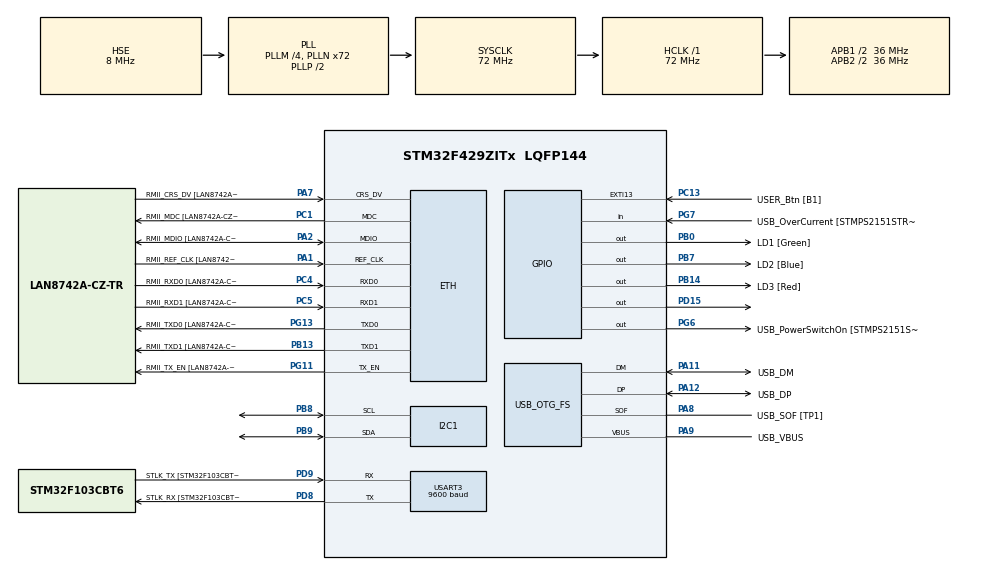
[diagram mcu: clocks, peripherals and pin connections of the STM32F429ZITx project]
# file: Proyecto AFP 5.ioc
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ETH.MediaInterface=HAL_ETH_RMII_MODE
ETH.PHY_Name=LAN8742A_PHY_ADDRESS
ETH.PHY_Value=0
ETH.PhyAddress=0
Mcu.Family=STM32F4
Mcu.Name=STM32F429ZITx
Mcu.Package=LQFP144
NVIC.PriorityGroup=NVIC_PRIORITYGROUP_4
NVIC.USART3_IRQn=true\:0\:0\:false\:false\:true\:true\:true\:true
PA1.GPIO_Label=RMII_REF_CLK [LAN8742A-CZ-TR_REFCLK0]
PA1.Mode=RMII
PA1.Signal=ETH_REF_CLK
PA10.GPIO_Label=USB_ID
PA10.Signal=USB_OTG_FS_ID
PA11.GPIO_Label=USB_DM
PA11.Mode=Device_Only
PA11.Signal=USB_OTG_FS_DM
PA12.GPIO_Label=USB_DP
PA12.Mode=Device_Only
PA12.Signal=USB_OTG_FS_DP
PA13.GPIO_Label=TMS
PA13.Mode=Serial_Wire
PA13.Signal=SYS_JTMS-SWDIO
PA14.GPIO_Label=TCK
PA14.Mode=Serial_Wire
PA14.Signal=SYS_JTCK-SWCLK
PA2.GPIO_Label=RMII_MDIO [LAN8742A-CZ-TR_MDIO]
PA2.Mode=RMII
PA2.Signal=ETH_MDIO
PA7.GPIO_Label=RMII_CRS_DV [LAN8742A-CZ-TR_CRS_DV]
PA7.Mode=RMII
PA7.Signal=ETH_CRS_DV
PA8.GPIO_Label=USB_SOF [TP1]
PA8.Mode=Activate_SOF_FS
PA8.Signal=USB_OTG_FS_SOF
PA9.GPIO_Label=USB_VBUS
PA9.Mode=Activate_VBUS
PA9.Signal=USB_OTG_FS_VBUS
PB0.GPIO_Label=LD1 [Green]
PB0.Signal=GPIO_Output
PB13.GPIO_Label=RMII_TXD1 [LAN8742A-CZ-TR_TXD1]
PB13.Mode=RMII
PB13.Signal=ETH_TXD1
PB14.GPIO_Label=LD3 [Red]
PB14.Signal=GPIO_Output
PB7.GPIO_Label=LD2 [Blue]
PB7.Signal=GPIO_Output
PB8.Mode=I2C
PB8.Signal=I2C1_SCL
PB9.Mode=I2C
PB9.Signal=I2C1_SDA
PC1.GPIO_Label=RMII_MDC [LAN8742A-CZ-TR_MDC]
PC1.Mode=RMII
PC1.Signal=ETH_MDC
PC13.GPIO_Label=USER_Btn [B1]
PC13.Signal=GPXTI13
PC14/OSC32_IN.Signal=RCC_OSC32_IN
PC15/OSC32_OUT.Signal=RCC_OSC32_OUT
PC4.GPIO_Label=RMII_RXD0 [LAN8742A-CZ-TR_RXD0]
PC4.Mode=RMII
PC4.Signal=ETH_RXD0
PC5.GPIO_Label=RMII_RXD1 [LAN8742A-CZ-TR_RXD1]
PC5.Mode=RMII
PC5.Signal=ETH_RXD1
PD15.Signal=GPIO_Output
PD8.GPIO_Label=STLK_RX [STM32F103CBT6_PA3]
PD8.Mode=Asynchronous
PD8.Signal=USART3_TX
PD9.GPIO_Label=STLK_TX [STM32F103CBT6_PA2]
PD9.Mode=Asynchronous
PD9.Signal=USART3_RX
PG11.GPIO_Label=RMII_TX_EN [LAN8742A-CZ-TR_TXEN]
PG11.Mode=RMII
PG11.Signal=ETH_TX_EN
PG13.GPIO_Label=RMII_TXD0 [LAN8742A-CZ-TR_TXD0]
PG13.Mode=RMII
PG13.Signal=ETH_TXD0
PG6.GPIO_Label=USB_PowerSwitchOn [STMPS2151STR_EN]
PG6.Signal=GPIO_Output
PG7.GPIO_Label=USB_OverCurrent [STMPS2151STR_FAULT]
PG7.Signal=GPIO_Input
PH0/OSC_IN.GPIO_Label=MCO [STM32F103CBT6_PA8]
PH0/OSC_IN.Mode=HSE-External-Oscillator
PH0/OSC_IN.Signal=RCC_OSC_IN
PH1/OSC_OUT.Mode=HSE-External-Oscillator
PH1/OSC_OUT.Signal=RCC_OSC_OUT
ProjectManager.HeapSize=0x200
ProjectManager.StackSize=0x400
ProjectManager.TargetToolchain=STM32CubeIDE
RCC.48MHZClocksFreq_Value=48000000
RCC.AHBFreq_Value=72000000
RCC.APB1CLKDivider=RCC_HCLK_DIV2
RCC.APB1Freq_Value=36000000
RCC.APB1TimFreq_Value=72000000
RCC.APB2CLKDivider=RCC_HCLK_DIV2
RCC.APB2Freq_Value=36000000
RCC.APB2TimFreq_Value=72000000
RCC.CortexFreq_Value=72000000
RCC.HCLKFreq_Value=72000000
RCC.HSE_VALUE=8000000
RCC.HSI_VALUE=16000000
RCC.PLLM=4
RCC.PLLMUL=RCC_PLL_MUL9
RCC.PLLN=72
RCC.PLLQ=3
RCC.PRESCALERUSB=RCC_USBCLKSOURCE_PLL_DIV1_5
RCC.SYSCLKFreq_VALUE=72000000
RCC.SYSCLKSource=RCC_SYSCLKSOURCE_PLLCLK
RCC.SYSCLKSourceVirtual=RCC_SYSCLKSOURCE_PLLCLK
RCC.USBFreq_Value=48000000
RCC.VCOOutputFreq_Value=144000000
USART3.BaudRate=9600
USART3.VirtualMode=VM_ASYNC
USB_OTG_FS.VirtualMode=Device_Only
board=NUCLEO-F429ZI

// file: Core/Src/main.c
/* USER CODE BEGIN Header */
/**
  ******************************************************************************
  * @file           : main.c
  * @brief          : Main program body
  ******************************************************************************
  * @attention
  *
  * Copyright (c) 2025 STMicroelectronics.
  * All rights reserved.
  *
  * This software is licensed under terms that can be found in the LICENSE file
  * in the root directory of this software component.
  * If no LICENSE file comes with this software, it is provided AS-IS.
  *
  ******************************************************************************
  */
/* USER CODE END Header */
#include "main.h"
#include "i2c.h"
#include "usart.h"
#include "gpio.h"
#include "API_liquidcrystal_i2c.h"
#include "stm32f4xx_hal.h"
#include "string.h"

/* USER CODE BEGIN PD */
#define RX_PIN GPIO_PIN_8 //RX del HC-05
#define TX_PIN GPIO_PIN_9 //TX del HC-05
#define SENSOR_IR_PIN GPIO_PIN_0   // Pin de entrada del sensor IR (PA0)
#define SENSOR_PIR_PIN GPIO_PIN_1  // Pin de entrada del sensor PIR (PB1)
#define BUZZER_PIN GPIO_PIN_0      // Pin de salida del buzzer (PB0)
#define LED_PIN GPIO_PIN_15			// pin de salida de led
/* USER CODE END PD */

uint8_t modoIR = 0;  // 1 para modo IR, 0 para modo PIR
uint32_t tiempoUltimoMovimiento = 0; // Variable para almacenar el tiempo del último movimiento detectado
uint32_t tiempoEspera = 2000;
uint32_t tiempoActivacionIR = 0;
uint32_t tiempoDeteccionIR = 0; //
uint8_t alarmaIRActivada = 0;
uint8_t conteoIRIniciado = 0; //
uint8_t zumbadorActivadoIR = 0; //
uint8_t rxData; // Variable para almacenar los datos recibidos
char comandoRecibido[20]; // Buffer para los comandos
uint8_t indiceComando = 0;
/* USER CODE BEGIN PV */
void HAL_UART_RxCpltCallback(UART_HandleTypeDef *huart) {
		    if (huart->Instance == USART3) { // Comprueba que es USART3
		        if (rxData == '\n' || rxData == '\r') { // Detecta fin de comando
		            comandoRecibido[indiceComando] = '\0'; // Cierra el string
		            indiceComando = 0;

		            // Compara el comando recibido
		            if (strcmp(comandoRecibido, "activar alarma") == 0) {
		                modoIR = 1; // Cambia a modo IR
		            } else if (strcmp(comandoRecibido, "desactivar alarma") == 0) {
		                modoIR = 0; // Cambia a modo PIR
		            }
		        } else {
		            comandoRecibido[indiceComando++] = rxData; // Guarda datos en el buffer
		        }

		        // Reactiva la recepción de UART
		        HAL_UART_Receive_IT(&huart3, &rxData, 1);
		    }
}
/* USER CODE END PV */

void SystemClock_Config(void);

/* USER CODE BEGIN 0 */
void HAL_UART_RxCpltCallback(UART_HandleTypeDef *huart);
/* USER CODE END 0 */

int main(void)
{

  /* MCU Configuration--------------------------------------------------------*/

  /* Reset of all peripherals, Initializes the Flash interface and the Systick. */
  HAL_Init();

  /* Configure the system clock */
  SystemClock_Config();

  /* USER CODE BEGIN SysInit */
  GPIO_InitTypeDef GPIO_InitStruct = {0};

  // Habilitar el reloj de los puertos GPIO
  __HAL_RCC_GPIOA_CLK_ENABLE();
  __HAL_RCC_GPIOB_CLK_ENABLE();
  __HAL_RCC_GPIOC_CLK_ENABLE();
  __HAL_RCC_GPIOD_CLK_ENABLE();
  // Configuración del pin del sensor IR (entrada)
  GPIO_InitStruct.Pin = SENSOR_IR_PIN;
  GPIO_InitStruct.Mode = GPIO_MODE_INPUT;
  GPIO_InitStruct.Pull = GPIO_NOPULL;  // Sin resistencias internas
  HAL_GPIO_Init(GPIOA, &GPIO_InitStruct);

  // Configuración del pin del sensor PIR (entrada)
  GPIO_InitStruct.Pin = SENSOR_PIR_PIN;
  GPIO_InitStruct.Mode = GPIO_MODE_INPUT;
  GPIO_InitStruct.Pull = GPIO_NOPULL;
  HAL_GPIO_Init(GPIOB, &GPIO_InitStruct);

  // Configuración del pin del buzzer (salida)
  GPIO_InitStruct.Pin = BUZZER_PIN;
  GPIO_InitStruct.Mode = GPIO_MODE_OUTPUT_PP;  // Push-pull para salida
  GPIO_InitStruct.Pull = GPIO_NOPULL;
  GPIO_InitStruct.Speed = GPIO_SPEED_FREQ_LOW;  // Baja velocidad
  HAL_GPIO_Init(GPIOB, &GPIO_InitStruct);

  //Configuracion del pin de recepcion UART del HC-05.
      GPIO_InitStruct.Pin = RX_PIN;
      GPIO_InitStruct.Mode = GPIO_MODE_AF_PP;
      GPIO_InitStruct.Pull = GPIO_NOPULL;
      GPIO_InitStruct.Speed = GPIO_SPEED_FREQ_VERY_HIGH;
      GPIO_InitStruct.Alternate = GPIO_AF7_USART3;
      HAL_GPIO_Init(GPIOC, &GPIO_InitStruct);

      //Configuracion del pin de Transmision UART del HC-05.
      GPIO_InitStruct.Pin = TX_PIN;
      GPIO_InitStruct.Mode = GPIO_MODE_AF_OD;
      GPIO_InitStruct.Pull = GPIO_PULLUP;
      GPIO_InitStruct.Speed = GPIO_SPEED_FREQ_VERY_HIGH;
      GPIO_InitStruct.Alternate = GPIO_AF7_USART3;
      HAL_GPIO_Init(GPIOC, &GPIO_InitStruct);

      //Inicializar UART3.
          huart3.Instance = USART3;
          huart3.Init.BaudRate = 9600;
          huart3.Init.WordLength = UART_WORDLENGTH_8B;
          huart3.Init.StopBits = UART_STOPBITS_1;
          huart3.Init.Parity = UART_PARITY_NONE;
          huart3.Init.Mode = UART_MODE_TX_RX;
          huart3.Init.HwFlowCtl = UART_HWCONTROL_NONE;
          huart3.Init.OverSampling = UART_OVERSAMPLING_16;
          if (HAL_UART_Init(&huart3) != HAL_OK) {
              Error_Handler();
          }

  /* USER CODE END SysInit */

  /* Initialize all configured peripherals */
  MX_GPIO_Init();
  MX_USART3_UART_Init();
  MX_I2C1_Init();
  /* USER CODE BEGIN 2 */
  HD44780_Init(2);
  HD44780_Clear();
  HD44780_SetCursor(0,0);
  HD44780_PrintStr("Proyecto");
  HD44780_SetCursor(3,1);
  HD44780_PrintStr("Digitales II");
  HAL_Delay(3000);
  HD44780_Display();

  HAL_UART_Receive_IT(&huart3, &rxData, 1);
  /* USER CODE END 2 */

  /* Infinite loop */
  while (1)
  {
	  if (modoIR) {

	    		  HAL_GPIO_WritePin(GPIOD, LED_PIN, GPIO_PIN_RESET);
	    	          if (alarmaIRActivada == 0) {
	    	        	  activando_alarma();
	    	              // Esperar 3 segundos antes de activar el sensor IR
	    	              if (tiempoActivacionIR == 0) {
	    	                  tiempoActivacionIR = HAL_GetTick();
	    	              }

	    	              if (HAL_GetTick() - tiempoActivacionIR >= 3000) {
	    	                  alarmaIRActivada = 1; // Activar alarma IR después de 3 segundos
	    	                  tiempoActivacionIR = 0; // Reiniciar el tiempo de activación
	    	              }
	    	          } else {
	    	              // Modo IR activado
	    	              GPIO_PinState sensorEstadoIR = HAL_GPIO_ReadPin(GPIOA, SENSOR_IR_PIN);

	    	              if (sensorEstadoIR == GPIO_PIN_RESET && conteoIRIniciado == 0) {
	    	                  // Detección de movimiento IR, iniciar conteo
	    	                  tiempoDeteccionIR = HAL_GetTick();
	    	                  conteoIRIniciado = 1;
	    	              }

	    	              if (conteoIRIniciado) {
	    	                  alarma_conteo();
	    	              }
	    	              if (zumbadorActivadoIR == 1){
	    	                  alarma_sonando();
	    	              }else{
	    	                  HAL_GPIO_WritePin(GPIOB, BUZZER_PIN, GPIO_PIN_RESET);
	    	              }
	    	          }
	    	      } else {
	    	          // Modo PIR: Si el sensor PIR detecta algo (señal HIGH), enciende el led
	    	          GPIO_PinState sensorEstadoPIR = HAL_GPIO_ReadPin(GPIOB, SENSOR_PIR_PIN);
	    	          HAL_GPIO_WritePin(GPIOB, BUZZER_PIN, GPIO_PIN_RESET);
	    	          HAL_GPIO_WritePin(GPIOD, LED_PIN, GPIO_PIN_RESET);
	    	          if (sensorEstadoPIR == GPIO_PIN_SET) {
	    	              led_on();
	    	          } else {
	    	        	  if (HAL_GetTick() - tiempoUltimoMovimiento >= tiempoEspera) {
	    	        		  led_off();
	    	        	    }
	    	          }
	    	          alarma_desactivada();
	    	          alarmaIRActivada = 0; // Reiniciar estado IR al cambiar a PIR
	    	          conteoIRIniciado = 0;
	    	          zumbadorActivadoIR = 0; //asegurar que el zumbador este apagado.
	    	          HAL_GPIO_WritePin(GPIOB, BUZZER_PIN, GPIO_PIN_RESET); //asegurar que el buzzer este apagado.
	    	          tiempoActivacionIR =0; //reiniciar tiempo de activacion para la siguiente vez que se active el modo IR.
	    	      }
	      }
}

void SystemClock_Config(void)
{
  RCC_OscInitTypeDef RCC_OscInitStruct = {0};
  RCC_ClkInitTypeDef RCC_ClkInitStruct = {0};

  /** Configure the main internal regulator output voltage
  */
  __HAL_RCC_PWR_CLK_ENABLE();
  __HAL_PWR_VOLTAGESCALING_CONFIG(PWR_REGULATOR_VOLTAGE_SCALE3);

  /** Initializes the RCC Oscillators according to the specified parameters
  * in the RCC_OscInitTypeDef structure.
  */
  RCC_OscInitStruct.OscillatorType = RCC_OSCILLATORTYPE_HSE;
  RCC_OscInitStruct.HSEState = RCC_HSE_ON;
  RCC_OscInitStruct.PLL.PLLState = RCC_PLL_ON;
  RCC_OscInitStruct.PLL.PLLSource = RCC_PLLSOURCE_HSE;
  RCC_OscInitStruct.PLL.PLLM = 4;
  RCC_OscInitStruct.PLL.PLLN = 72;
  RCC_OscInitStruct.PLL.PLLP = RCC_PLLP_DIV2;
  RCC_OscInitStruct.PLL.PLLQ = 3;
  if (HAL_RCC_OscConfig(&RCC_OscInitStruct) != HAL_OK)
  {
    Error_Handler();
  }

  /** Initializes the CPU, AHB and APB buses clocks
  */
  RCC_ClkInitStruct.ClockType = RCC_CLOCKTYPE_HCLK|RCC_CLOCKTYPE_SYSCLK
                              |RCC_CLOCKTYPE_PCLK1|RCC_CLOCKTYPE_PCLK2;
  RCC_ClkInitStruct.SYSCLKSource = RCC_SYSCLKSOURCE_PLLCLK;
  RCC_ClkInitStruct.AHBCLKDivider = RCC_SYSCLK_DIV1;
  RCC_ClkInitStruct.APB1CLKDivider = RCC_HCLK_DIV2;
  RCC_ClkInitStruct.APB2CLKDivider = RCC_HCLK_DIV2;

  if (HAL_RCC_ClockConfig(&RCC_ClkInitStruct, FLASH_LATENCY_2) != HAL_OK)
  {
    Error_Handler();
  }
}

void Error_Handler(void)
{
  __disable_irq();
  while (1)
  {
  }
}
